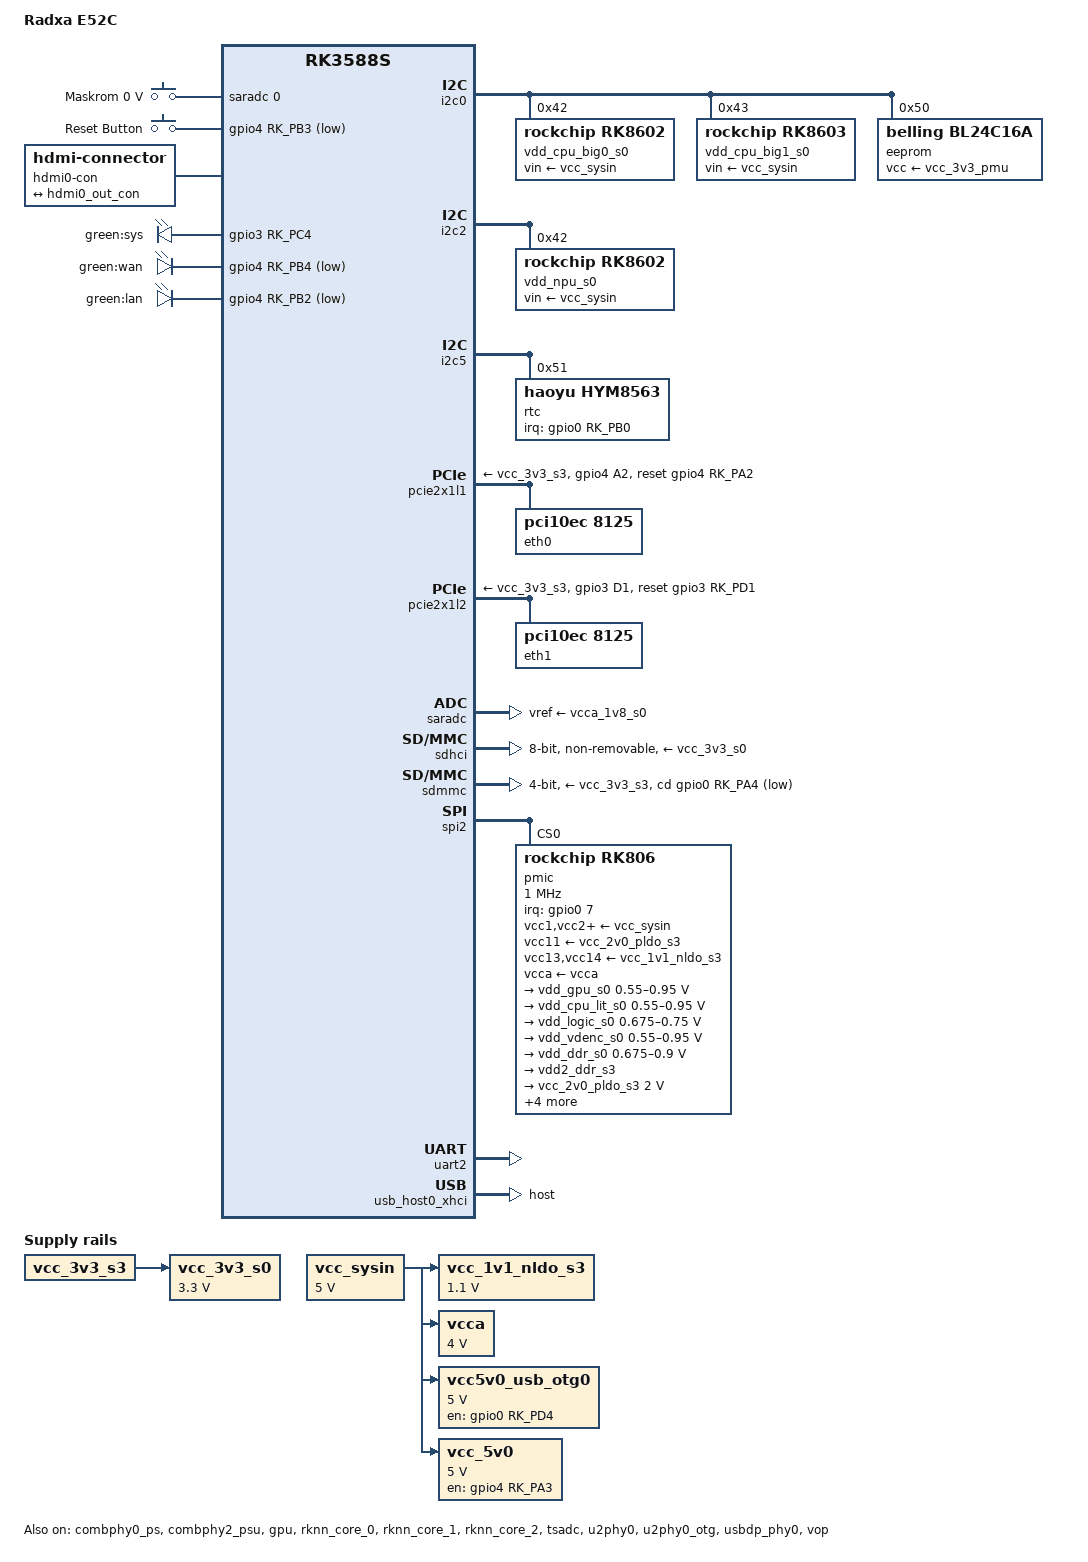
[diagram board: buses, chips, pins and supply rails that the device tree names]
// SPDX-License-Identifier: (GPL-2.0+ OR MIT)
/*
 * Copyright (c) 2024 Radxa Computer (Shenzhen) Co., Ltd.
 */

/dts-v1/;

#include <dt-bindings/gpio/gpio.h>
#include <dt-bindings/input/input.h>
#include <dt-bindings/leds/common.h>
#include <dt-bindings/pinctrl/rockchip.h>
#include <dt-bindings/soc/rockchip,vop2.h>
#include <dt-bindings/pwm/pwm.h>
#include "rk3588s.dtsi"

/ {
	model = "Radxa E52C";
	compatible = "radxa,e52c", "rockchip,rk3582", "rockchip,rk3588s";

	aliases {
		mmc0 = &sdmmc;
		mmc1 = &sdhci;
	};

	chosen {
		stdout-path = "serial2:1500000n8";
	};

	keys-0 {
		compatible = "adc-keys";
		io-channels = <&saradc 0>;
		io-channel-names = "buttons";
		keyup-threshold-microvolt = <18000>;
		poll-interval = <100>;

		button-0 {
			label = "Maskrom";
			linux,code = <KEY_VENDOR>;
			press-threshold-microvolt = <0>;
		};
	};

	keys-1 {
		compatible = "gpio-keys";
		pinctrl-names = "default";
		pinctrl-0 = <&btn_reset>;

		button-1 {
			label = "Reset Button";
			gpios = <&gpio4 RK_PB3 GPIO_ACTIVE_LOW>;
			linux,code = <KEY_RESTART>;
			debounce-interval = <100>;
		};
	};

	hdmi0-con {
		compatible = "hdmi-connector";
		type = "a";

		port {
			hdmi0_con_in: endpoint {
				remote-endpoint = <&hdmi0_out_con>;
			};
		};
	};

	gpio-leds {
		compatible = "gpio-leds";
		pinctrl-names = "led-green-sys", "led-green-wan", "led-green-lan";
		pinctrl-0 = <&led_green_sys_pin>, <&led_green_wan_pin>, <&led_green_lan_pin>;

		led_green_sys: led-green-sys {
			gpios = <&gpio3 RK_PC4 GPIO_ACTIVE_HIGH>;
			label = "green:sys";
			linux,default-trigger = "heartbeat";
		};

		led_green_wan: led-green-wan {
			gpios = <&gpio4 RK_PB4 GPIO_ACTIVE_LOW>;
			label = "green:wan";
		};

		led_green_lan: led-green-lan {
			gpios = <&gpio4 RK_PB2 GPIO_ACTIVE_LOW>;
			label = "green:lan";
		};
	};

	vcc_1v1_nldo_s3: regulator-1v1 {
		compatible = "regulator-fixed";
		regulator-name = "vcc_1v1_nldo_s3";
		regulator-always-on;
		regulator-boot-on;
		regulator-min-microvolt = <1100000>;
		regulator-max-microvolt = <1100000>;
		vin-supply = <&vcc_sysin>;
	};

	vcc_3v3_s0: regulator-3v3-1 {
		compatible = "regulator-fixed";
		regulator-name = "vcc_3v3_s0";
		regulator-always-on;
		regulator-boot-on;
		regulator-min-microvolt = <3300000>;
		regulator-max-microvolt = <3300000>;
		vin-supply = <&vcc_3v3_s3>;
	};

	vcca: regulator-4v0 {
		compatible = "regulator-fixed";
		regulator-name = "vcca";
		regulator-always-on;
		regulator-boot-on;
		regulator-min-microvolt = <4000000>;
		regulator-max-microvolt = <4000000>;
		vin-supply = <&vcc_sysin>;
	};

	vcc5v0_usb_otg0: regulator-5v0-0 {
		compatible = "regulator-fixed";
		enable-active-high;
		gpio = <&gpio0 RK_PD4 GPIO_ACTIVE_HIGH>;
		pinctrl-names = "default";
		pinctrl-0 = <&usb_otg_pwren_h>;
		regulator-name = "vcc5v0_usb_otg0";
		regulator-min-microvolt = <5000000>;
		regulator-max-microvolt = <5000000>;
		vin-supply = <&vcc_sysin>;
	};

	vcc_5v0: regulator-5v0-1 {
		compatible = "regulator-fixed";
		enable-active-high;
		gpio = <&gpio4 RK_PA3 GPIO_ACTIVE_HIGH>;
		pinctrl-names = "default";
		pinctrl-0 = <&vcc_5v0_pwren_h>;
		regulator-name = "vcc_5v0";
		regulator-min-microvolt = <5000000>;
		regulator-max-microvolt = <5000000>;
		vin-supply = <&vcc_sysin>;
	};

	vcc_sysin: regulator-5v0-2 {
		compatible = "regulator-fixed";
		regulator-name = "vcc_sysin";
		regulator-always-on;
		regulator-boot-on;
		regulator-min-microvolt = <5000000>;
		regulator-max-microvolt = <5000000>;
	};
};

&combphy0_ps {
	status = "okay";
};

&combphy2_psu {
	status = "okay";
};

/*
 * In the Rockchip RK3582 SoC, some CPU cores end up disabled
 * and unused because they're marked in the efuses as defective.
 * The disabling in the DT is performed by the boot loader.
 */
&cpu_b0 {
	cpu-supply = <&vdd_cpu_big0_s0>;
};

&cpu_b1 {
	cpu-supply = <&vdd_cpu_big0_s0>;
};

&cpu_b2 {
	cpu-supply = <&vdd_cpu_big1_s0>;
};

&cpu_b3 {
	cpu-supply = <&vdd_cpu_big1_s0>;
};

&cpu_l0 {
	cpu-supply = <&vdd_cpu_lit_s0>;
};

&cpu_l1 {
	cpu-supply = <&vdd_cpu_lit_s0>;
};

&cpu_l2 {
	cpu-supply = <&vdd_cpu_lit_s0>;
};

&cpu_l3 {
	cpu-supply = <&vdd_cpu_lit_s0>;
};

&gpu {
	mali-supply = <&vdd_gpu_s0>;
	status = "okay";
};

&hdmi0 {
	pinctrl-names = "default";
	pinctrl-0 = <&hdmim0_tx0_cec
		     &hdmim1_tx0_hpd
		     &hdmim0_tx0_scl
		     &hdmim0_tx0_sda>;
	status = "disabled";
};

&hdmi0_in {
	hdmi0_in_vp0: endpoint {
		remote-endpoint = <&vp0_out_hdmi0>;
	};
};

&hdmi0_out {
	hdmi0_out_con: endpoint {
		remote-endpoint = <&hdmi0_con_in>;
	};
};

&hdptxphy0 {
	status = "disabled";
};

&i2c0 {
	pinctrl-names = "default";
	pinctrl-0 = <&i2c0m2_xfer>;
	status = "okay";

	vdd_cpu_big0_s0: regulator@42 {
		compatible = "rockchip,rk8602";
		reg = <0x42>;
		fcs,suspend-voltage-selector = <1>;
		regulator-name = "vdd_cpu_big0_s0";
		regulator-always-on;
		regulator-boot-on;
		regulator-min-microvolt = <550000>;
		regulator-max-microvolt = <1050000>;
		regulator-ramp-delay = <2300>;
		vin-supply = <&vcc_sysin>;

		regulator-state-mem {
			regulator-off-in-suspend;
		};
	};

	vdd_cpu_big1_s0: regulator@43 {
		compatible = "rockchip,rk8603", "rockchip,rk8602";
		reg = <0x43>;
		fcs,suspend-voltage-selector = <1>;
		regulator-name = "vdd_cpu_big1_s0";
		regulator-always-on;
		regulator-boot-on;
		regulator-min-microvolt = <550000>;
		regulator-max-microvolt = <1050000>;
		regulator-ramp-delay = <2300>;
		vin-supply = <&vcc_sysin>;

		regulator-state-mem {
			regulator-off-in-suspend;
		};
	};

	eeprom@50 {
		compatible = "belling,bl24c16a", "atmel,24c16";
		reg = <0x50>;
		pagesize = <16>;
		vcc-supply = <&vcc_3v3_pmu>;
	};
};

&i2c2 {
	status = "okay";

	vdd_npu_s0: vdd_npu_mem_s0: regulator@42 {
		compatible = "rockchip,rk8602";
		reg = <0x42>;
		fcs,suspend-voltage-selector = <1>;
		regulator-name = "vdd_npu_s0";
		regulator-always-on;
		regulator-boot-on;
		regulator-min-microvolt = <550000>;
		regulator-max-microvolt = <950000>;
		regulator-ramp-delay = <2300>;
		vin-supply = <&vcc_sysin>;

		regulator-state-mem {
			regulator-off-in-suspend;
		};
	};
};

&i2c5 {
	pinctrl-names = "default";
	pinctrl-0 = <&i2c5m2_xfer>;
	status = "okay";

	rtc@51 {
		compatible = "haoyu,hym8563";
		reg = <0x51>;
		#clock-cells = <0>;
		clock-output-names = "rtcic_32kout";
		interrupt-parent = <&gpio0>;
		interrupts = <RK_PB0 IRQ_TYPE_LEVEL_LOW>;
		pinctrl-names = "default";
		pinctrl-0 = <&rtc_int_l>;
		wakeup-source;
	};
};

&pd_gpu {
	domain-supply = <&vdd_gpu_s0>;
};

&pd_npu {
	domain-supply = <&vdd_npu_s0>;
};

/* rtl8125b eth0 */
&pcie2x1l1 {
	pinctrl-names = "default";
	pinctrl-0 = <&pcie20x1_1_perstn_m1>;
	reset-gpios = <&gpio4 RK_PA2 GPIO_ACTIVE_HIGH>;
	vpcie3v3-supply = <&vcc_3v3_s3>;
	status = "okay";

	pcie@0,0 {
		reg = <0x00300000 0 0 0 0>;
		#address-cells = <3>;
		#size-cells = <2>;

		bus-range = <0x30 0x3f>;
		device_type = "pci";
		ranges;

		rtl8125_1: pcie-eth@0,0 {
			compatible = "pci10ec,8125";
			label = "eth0";
			reg = <0x310000 0 0 0 0>;

			/* G+: LED0
			 * G-: LED1
			 * Y+: 3v3
			 * Y-: LED2
			 */
			// LED0: active high, link on all speed
			r8125,led0 = <0x102b>;

			// LED1: active low, act on all speed
			r8125,led1 = <0x0200>;

			// LED2: active low, link on 100 + 1000 + 2500
			r8125,led2 = <0x002a>;
		};
	};
};

/* rtl8125b eth1 */
&pcie2x1l2 {
	pinctrl-names = "default";
	pinctrl-0 = <&pcie20x1_2_perstn_m0>;
	reset-gpios = <&gpio3 RK_PD1 GPIO_ACTIVE_HIGH>;
	vpcie3v3-supply = <&vcc_3v3_s3>;
	status = "okay";

	pcie@0,0 {
		reg = <0x00400000 0 0 0 0>;
		#address-cells = <3>;
		#size-cells = <2>;

		bus-range = <0x40 0x4f>;
		device_type = "pci";
		ranges;

		rtl8125_2: pcie-eth@0,0 {
			compatible = "pci10ec,8125";
			label = "eth1";
			reg = <0x410000 0 0 0 0>;

			/* G+: LED0
			 * G-: LED1
			 * Y+: 3v3
			 * Y-: LED2
			 */
			// LED0: active high, link on all speed
			r8125,led0 = <0x102b>;

			// LED1: active low, act on all speed
			r8125,led1 = <0x0200>;

			// LED2: active low, link on 100 + 1000 + 2500
			r8125,led2 = <0x002a>;
		};
	};
};

&pinctrl {
	keys {
		btn_reset: btn-reset {
			rockchip,pins = <4 RK_PB3 RK_FUNC_GPIO &pcfg_pull_up>;
		};
	};

	leds {
		led_green_sys_pin: led-green-sys-pin {
			rockchip,pins = <3 RK_PC4 RK_FUNC_GPIO &pcfg_pull_none>;
		};

		led_green_wan_pin: led-green-wan-pin {
			rockchip,pins = <4 RK_PB4 RK_FUNC_GPIO &pcfg_pull_none>;
		};

		led_green_lan_pin: led-green-lan-pin {
			rockchip,pins = <4 RK_PB2 RK_FUNC_GPIO &pcfg_pull_none>;
		};
	};

	pcie {
		pcie20x1_1_perstn_m1: pcie-1 {
			rockchip,pins = <4 RK_PA2 RK_FUNC_GPIO &pcfg_pull_down>;
		};

		pcie20x1_2_perstn_m0: pcie-2 {
			rockchip,pins = <3 RK_PD1 RK_FUNC_GPIO &pcfg_pull_down>;
		};
	};

	regulators {
		vcc_5v0_pwren_h: regulator-5v0-1 {
			rockchip,pins = <4 RK_PA3 RK_FUNC_GPIO &pcfg_pull_none>;
		};
	};

	rtc {
		rtc_int_l: rtc-0 {
			rockchip,pins = <0 RK_PB0 RK_FUNC_GPIO &pcfg_pull_none>;
		};
	};

	usb {
		usb_otg_pwren_h: regulator-5v0-0 {
			rockchip,pins = <0 RK_PD4 RK_FUNC_GPIO &pcfg_pull_none>;
		};
	};
};

&rknn_core_0 {
	npu-supply = <&vdd_npu_s0>;
	sram-supply = <&vdd_npu_mem_s0>;
	status = "okay";
};

&rknn_core_1 {
	npu-supply = <&vdd_npu_s0>;
	sram-supply = <&vdd_npu_mem_s0>;
	status = "okay";
};

&rknn_core_2 {
	npu-supply = <&vdd_npu_s0>;
	sram-supply = <&vdd_npu_mem_s0>;
	status = "okay";
};

&rknn_mmu_0 {
	status = "okay";
};

&rknn_mmu_1 {
	status = "okay";
};

&rknn_mmu_2 {
	status = "okay";
};

&saradc {
	vref-supply = <&vcca_1v8_s0>;
	status = "okay";
};

&sdhci {
	bus-width = <8>;
	cap-mmc-highspeed;
	mmc-hs400-1_8v;
	mmc-hs400-enhanced-strobe;
	no-sd;
	no-sdio;
	non-removable;
	vmmc-supply = <&vcc_3v3_s0>;
	vqmmc-supply = <&vcc_1v8_s3>;
	status = "okay";
};

&sdmmc {
	bus-width = <4>;
	cap-mmc-highspeed;
	cap-sd-highspeed;
	cd-gpios = <&gpio0 RK_PA4 GPIO_ACTIVE_LOW>;
	disable-wp;
	no-sdio;
	sd-uhs-sdr104;
	vmmc-supply = <&vcc_3v3_s3>;
	vqmmc-supply = <&vccio_sd_s0>;
	status = "okay";
};

&spi2 {
	status = "okay";
	assigned-clocks = <&cru CLK_SPI2>;
	assigned-clock-rates = <200000000>;
	num-cs = <1>;
	pinctrl-names = "default";
	pinctrl-0 = <&spi2m2_cs0 &spi2m2_pins>;

	pmic@0 {
		compatible = "rockchip,rk806";
		reg = <0>;
		gpio-controller;
		#gpio-cells = <2>;
		interrupt-parent = <&gpio0>;
		interrupts = <7 IRQ_TYPE_LEVEL_LOW>;
		pinctrl-names = "default";
		pinctrl-0 = <&pmic_pins>, <&rk806_dvs1_null>,
			    <&rk806_dvs2_null>, <&rk806_dvs3_null>;
		spi-max-frequency = <1000000>;
		system-power-controller;

		vcc1-supply = <&vcc_sysin>;
		vcc2-supply = <&vcc_sysin>;
		vcc3-supply = <&vcc_sysin>;
		vcc4-supply = <&vcc_sysin>;
		vcc5-supply = <&vcc_sysin>;
		vcc6-supply = <&vcc_sysin>;
		vcc7-supply = <&vcc_sysin>;
		vcc8-supply = <&vcc_sysin>;
		vcc9-supply = <&vcc_sysin>;
		vcc10-supply = <&vcc_sysin>;
		vcc11-supply = <&vcc_2v0_pldo_s3>;
		vcc12-supply = <&vcc_sysin>;
		vcc13-supply = <&vcc_1v1_nldo_s3>;
		vcc14-supply = <&vcc_1v1_nldo_s3>;
		vcca-supply = <&vcca>;

		rk806_dvs1_null: dvs1-null-pins {
			pins = "gpio_pwrctrl1";
			function = "pin_fun0";
		};

		rk806_dvs2_null: dvs2-null-pins {
			pins = "gpio_pwrctrl2";
			function = "pin_fun0";
		};

		rk806_dvs3_null: dvs3-null-pins {
			pins = "gpio_pwrctrl3";
			function = "pin_fun0";
		};

		regulators {
			vdd_gpu_s0: dcdc-reg1 {
				regulator-name = "vdd_gpu_s0";
				regulator-boot-on;
				regulator-min-microvolt = <550000>;
				regulator-max-microvolt = <950000>;
				regulator-ramp-delay = <12500>;
				regulator-enable-ramp-delay = <400>;

				regulator-state-mem {
					regulator-off-in-suspend;
				};
			};

			vdd_cpu_lit_s0: dcdc-reg2 {
				regulator-name = "vdd_cpu_lit_s0";
				regulator-always-on;
				regulator-boot-on;
				regulator-min-microvolt = <550000>;
				regulator-max-microvolt = <950000>;
				regulator-ramp-delay = <12500>;

				regulator-state-mem {
					regulator-off-in-suspend;
				};
			};

			vdd_logic_s0: dcdc-reg3 {
				regulator-name = "vdd_logic_s0";
				regulator-always-on;
				regulator-boot-on;
				regulator-min-microvolt = <675000>;
				regulator-max-microvolt = <750000>;
				regulator-ramp-delay = <12500>;

				regulator-state-mem {
					regulator-on-in-suspend;
					regulator-suspend-microvolt = <750000>;
				};
			};

			vdd_vdenc_s0: dcdc-reg4 {
				regulator-name = "vdd_vdenc_s0";
				regulator-always-on;
				regulator-boot-on;
				regulator-min-microvolt = <550000>;
				regulator-max-microvolt = <950000>;
				regulator-ramp-delay = <12500>;

				regulator-state-mem {
					regulator-off-in-suspend;
				};
			};

			vdd_ddr_s0: dcdc-reg5 {
				regulator-name = "vdd_ddr_s0";
				regulator-always-on;
				regulator-boot-on;
				regulator-min-microvolt = <675000>;
				regulator-max-microvolt = <900000>;
				regulator-ramp-delay = <12500>;

				regulator-state-mem {
					regulator-off-in-suspend;
					regulator-suspend-microvolt = <850000>;
				};
			};

			vdd2_ddr_s3: dcdc-reg6 {
				regulator-name = "vdd2_ddr_s3";
				regulator-always-on;
				regulator-boot-on;

				regulator-state-mem {
					regulator-on-in-suspend;
				};
			};

			vcc_2v0_pldo_s3: dcdc-reg7 {
				regulator-name = "vcc_2v0_pldo_s3";
				regulator-always-on;
				regulator-boot-on;
				regulator-min-microvolt = <2000000>;
				regulator-max-microvolt = <2000000>;

				regulator-state-mem {
					regulator-on-in-suspend;
					regulator-suspend-microvolt = <2000000>;
				};
			};

			vcc_3v3_s3: vcc_3v3_pmu: dcdc-reg8 {
				regulator-name = "vcc_3v3_s3";
				regulator-always-on;
				regulator-boot-on;
				regulator-min-microvolt = <3300000>;
				regulator-max-microvolt = <3300000>;

				regulator-state-mem {
					regulator-on-in-suspend;
					regulator-suspend-microvolt = <3300000>;
				};
			};

			vddq_ddr_s0: dcdc-reg9 {
				regulator-name = "vddq_ddr_s0";
				regulator-always-on;
				regulator-boot-on;

				regulator-state-mem {
					regulator-off-in-suspend;
				};
			};

			vcc_1v8_s3: dcdc-reg10 {
				regulator-name = "vcc_1v8_s3";
				regulator-always-on;
				regulator-boot-on;
				regulator-min-microvolt = <1800000>;
				regulator-max-microvolt = <1800000>;

				regulator-state-mem {
					regulator-on-in-suspend;
					regulator-suspend-microvolt = <1800000>;
				};
			};

			vcc_1v8_s0: pldo-reg1 {
				regulator-name = "vcc_1v8_s0";
				regulator-always-on;
				regulator-boot-on;
				regulator-min-microvolt = <1800000>;
				regulator-max-microvolt = <1800000>;

				regulator-state-mem {
					regulator-on-in-suspend;
					regulator-suspend-microvolt = <1800000>;
				};
			};

			vcca_1v8_s0: pldo-reg2 {
				regulator-name = "vcca_1v8_s0";
				regulator-always-on;
				regulator-boot-on;
				regulator-min-microvolt = <1800000>;
				regulator-max-microvolt = <1800000>;

				regulator-state-mem {
					regulator-on-in-suspend;
					regulator-suspend-microvolt = <1800000>;
				};
			};

			vdda_1v2_s0: pldo-reg3 {
				regulator-name = "vdda_1v2_s0";
				regulator-always-on;
				regulator-boot-on;
				regulator-min-microvolt = <1200000>;
				regulator-max-microvolt = <1200000>;

				regulator-state-mem {
					regulator-off-in-suspend;
				};
			};

			vcca_3v3_s0: pldo-reg4 {
				regulator-name = "vcca_3v3_s0";
				regulator-always-on;
				regulator-boot-on;
				regulator-min-microvolt = <3300000>;
				regulator-max-microvolt = <3300000>;

				regulator-state-mem {
					regulator-on-in-suspend;
					regulator-suspend-microvolt = <3300000>;
				};
			};

			vccio_sd_s0: pldo-reg5 {
				regulator-name = "vccio_sd_s0";
				regulator-always-on;
				regulator-boot-on;
				regulator-min-microvolt = <1800000>;
				regulator-max-microvolt = <3300000>;

				regulator-state-mem {
					regulator-off-in-suspend;
				};
			};

			pldo6_s3: pldo-reg6 {
				regulator-name = "pldo6_s3";
				regulator-always-on;
				regulator-boot-on;
				regulator-min-microvolt = <1800000>;
				regulator-max-microvolt = <1800000>;

				regulator-state-mem {
					regulator-on-in-suspend;
					regulator-suspend-microvolt = <1800000>;
				};
			};

			vdd_0v75_s3: nldo-reg1 {
				regulator-name = "vdd_0v75_s3";
				regulator-always-on;
				regulator-boot-on;
				regulator-min-microvolt = <750000>;
				regulator-max-microvolt = <750000>;

				regulator-state-mem {
					regulator-on-in-suspend;
					regulator-suspend-microvolt = <750000>;
				};
			};

			vdda_ddr_pll_s0: nldo-reg2 {
				regulator-name = "vdda_ddr_pll_s0";
				regulator-always-on;
				regulator-boot-on;
				regulator-min-microvolt = <850000>;
				regulator-max-microvolt = <850000>;

				regulator-state-mem {
					regulator-on-in-suspend;
					regulator-suspend-microvolt = <850000>;
				};
			};

			vdda_0v75_s0: nldo-reg3 {
				regulator-name = "vdda_0v75_s0";
				regulator-always-on;
				regulator-boot-on;
				regulator-min-microvolt = <750000>;
				regulator-max-microvolt = <750000>;

				regulator-state-mem {
					regulator-on-in-suspend;
					regulator-suspend-microvolt = <750000>;
				};
			};

			vdda_0v85_s0: nldo-reg4 {
				regulator-name = "vdda_0v85_s0";
				regulator-always-on;
				regulator-boot-on;
				regulator-min-microvolt = <850000>;
				regulator-max-microvolt = <850000>;

				regulator-state-mem {
					regulator-off-in-suspend;
				};
			};

			vdd_0v75_s0: nldo-reg5 {
				regulator-name = "vdd_0v75_s0";
				regulator-always-on;
				regulator-boot-on;
				regulator-min-microvolt = <750000>;
				regulator-max-microvolt = <750000>;

				regulator-state-mem {
					regulator-off-in-suspend;
				};
			};
		};
	};
};

&tsadc {
	status = "okay";
};

&u2phy0 {
	status = "okay";
};

&u2phy0_otg {
	phy-supply = <&vcc5v0_usb_otg0>;
	status = "okay";
};

&uart2 {
	pinctrl-0 = <&uart2m0_xfer>;
	status = "okay";
};

&usb_host0_xhci {
	dr_mode = "host";
	status = "okay";
};

&usbdp_phy0 {
	status = "okay";
};

&vop_mmu {
	status = "okay";
};

&vop {
	status = "okay";
};

&vp0 {
	vp0_out_hdmi0: endpoint@ROCKCHIP_VOP2_EP_HDMI0 {
		reg = <ROCKCHIP_VOP2_EP_HDMI0>;
		remote-endpoint = <&hdmi0_in_vp0>;
	};
};
